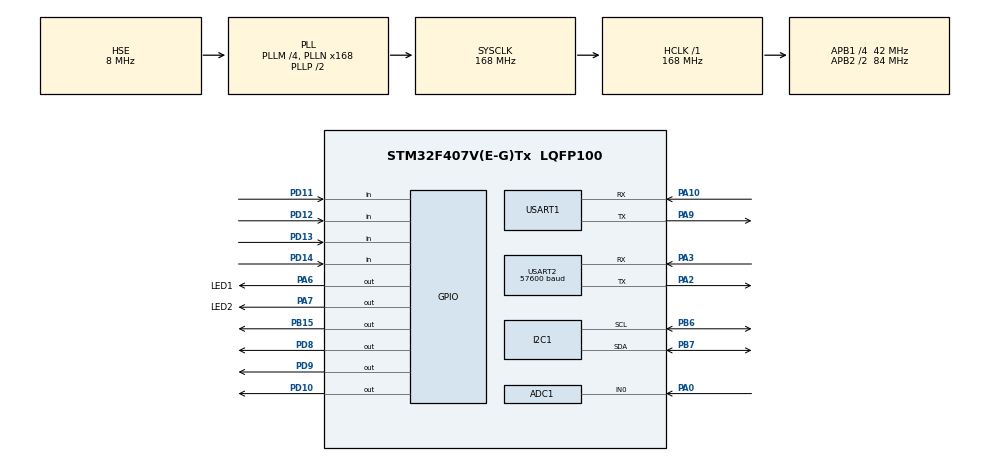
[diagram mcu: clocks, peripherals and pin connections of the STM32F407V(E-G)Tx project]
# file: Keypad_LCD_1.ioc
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ADC1.Channel-1\#ChannelRegularConversion=ADC_CHANNEL_0
ADC1.ContinuousConvMode=ENABLE
ADC1.NbrOfConversionFlag=1
ADC1.Rank-1\#ChannelRegularConversion=1
ADC1.SamplingTime-1\#ChannelRegularConversion=ADC_SAMPLETIME_15CYCLES
ADC1.master=1
FREERTOS.Tasks01=TaskEnter,0,128,TaskEnterFunction,Default,NULL,Dynamic,NULL,NULL;TaskESP,1,128,TaskESPFunction,Default,NULL,Dynamic,NULL,NULL
Mcu.Family=STM32F4
Mcu.Name=STM32F407V(E-G)Tx
Mcu.Package=LQFP100
NVIC.ADC_IRQn=true\:0\:0\:false\:false\:true\:false\:true\:true
NVIC.PriorityGroup=NVIC_PRIORITYGROUP_4
NVIC.TIM1_UP_TIM10_IRQn=true\:0\:0\:false\:false\:true\:false\:false\:true
NVIC.TimeBase=TIM1_UP_TIM10_IRQn
NVIC.TimeBaseIP=TIM1
NVIC.USART1_IRQn=true\:0\:0\:false\:false\:true\:false\:true\:true
NVIC.USART2_IRQn=true\:0\:0\:false\:false\:true\:false\:true\:true
PA0-WKUP.Signal=ADCx_IN0
PA10.Mode=Asynchronous
PA10.Signal=USART1_RX
PA13.Mode=Serial_Wire
PA13.Signal=SYS_JTMS-SWDIO
PA14.Mode=Serial_Wire
PA14.Signal=SYS_JTCK-SWCLK
PA2.Mode=Asynchronous
PA2.Signal=USART2_TX
PA3.Mode=Asynchronous
PA3.Signal=USART2_RX
PA6.GPIO_Label=LED1
PA6.GPIO_Speed=GPIO_SPEED_FREQ_VERY_HIGH
PA6.Signal=GPIO_Output
PA7.GPIO_Label=LED2
PA7.GPIO_Speed=GPIO_SPEED_FREQ_VERY_HIGH
PA7.PinState=GPIO_PIN_SET
PA7.Signal=GPIO_Output
PA9.Mode=Asynchronous
PA9.Signal=USART1_TX
PB15.GPIO_ModeDefaultOutputPP=GPIO_MODE_OUTPUT_PP
PB15.PinState=GPIO_PIN_SET
PB15.Signal=GPIO_Output
PB6.Mode=I2C
PB6.Signal=I2C1_SCL
PB7.Mode=I2C
PB7.Signal=I2C1_SDA
PD10.GPIO_ModeDefaultOutputPP=GPIO_MODE_OUTPUT_PP
PD10.PinState=GPIO_PIN_SET
PD10.Signal=GPIO_Output
PD11.GPIO_Mode=GPIO_MODE_INPUT
PD11.GPIO_PuPd=GPIO_PULLUP
PD11.Signal=GPIO_Input
PD12.GPIO_Mode=GPIO_MODE_INPUT
PD12.GPIO_PuPd=GPIO_PULLUP
PD12.Signal=GPIO_Input
PD13.GPIO_Mode=GPIO_MODE_INPUT
PD13.GPIO_PuPd=GPIO_PULLUP
PD13.Signal=GPIO_Input
PD14.GPIO_Mode=GPIO_MODE_INPUT
PD14.GPIO_PuPd=GPIO_PULLUP
PD14.Signal=GPIO_Input
PD8.GPIO_ModeDefaultOutputPP=GPIO_MODE_OUTPUT_PP
PD8.PinState=GPIO_PIN_SET
PD8.Signal=GPIO_Output
PD9.GPIO_ModeDefaultOutputPP=GPIO_MODE_OUTPUT_PP
PD9.PinState=GPIO_PIN_SET
PD9.Signal=GPIO_Output
PH0-OSC_IN.Mode=HSE-External-Oscillator
PH0-OSC_IN.Signal=RCC_OSC_IN
PH1-OSC_OUT.Mode=HSE-External-Oscillator
PH1-OSC_OUT.Signal=RCC_OSC_OUT
ProjectManager.HeapSize=0x200
ProjectManager.StackSize=0x400
ProjectManager.TargetToolchain=MDK-ARM V5
RCC.48MHZClocksFreq_Value=84000000
RCC.AHBFreq_Value=168000000
RCC.APB1CLKDivider=RCC_HCLK_DIV4
RCC.APB1Freq_Value=42000000
RCC.APB1TimFreq_Value=84000000
RCC.APB2CLKDivider=RCC_HCLK_DIV2
RCC.APB2Freq_Value=84000000
RCC.APB2TimFreq_Value=168000000
RCC.CortexFreq_Value=168000000
RCC.HCLKFreq_Value=168000000
RCC.HSE_VALUE=8000000
RCC.HSI_VALUE=16000000
RCC.LSE_VALUE=32768
RCC.PLLM=4
RCC.PLLN=168
RCC.PLLSourceVirtual=RCC_PLLSOURCE_HSE
RCC.SYSCLKFreq_VALUE=168000000
RCC.SYSCLKSource=RCC_SYSCLKSOURCE_PLLCLK
RCC.VCOOutputFreq_Value=336000000
SH.ADCx_IN0.0=ADC1_IN0,IN0
USART1.VirtualMode=VM_ASYNC
USART2.BaudRate=57600
USART2.VirtualMode=VM_ASYNC
VP_FREERTOS_VS_CMSIS_V1.Mode=CMSIS_V1
VP_SYS_VS_tim1.Mode=TIM1
board=custom

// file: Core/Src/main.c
/* USER CODE BEGIN Header */
/**
  ******************************************************************************
  * @file           : main.c
  * @brief          : Main program body
  ******************************************************************************
  * @attention
  *
  * <h2><center>&copy; Copyright (c) 2021 STMicroelectronics.
  * All rights reserved.</center></h2>
  *
  * This software component is licensed by ST under Ultimate Liberty license
  * SLA0044, the "License"; You may not use this file except in compliance with
  * the License. You may obtain a copy of the License at:
  *                             www.st.com/SLA0044
  *
  ******************************************************************************
  */
/* USER CODE END Header */
#include "main.h"
#include "cmsis_os.h"

/* USER CODE BEGIN Includes */
#include "finger.h"
#include "lib_keypad.h"
#include "lcd_20x4.h"
/* USER CODE END Includes */

ADC_HandleTypeDef hadc1;

I2C_HandleTypeDef hi2c1;

UART_HandleTypeDef huart1;
UART_HandleTypeDef huart2;

osThreadId TaskEnterHandle;
osThreadId TaskESPHandle;

void SystemClock_Config(void);
static void MX_GPIO_Init(void);
static void MX_ADC1_Init(void);
static void MX_I2C1_Init(void);
static void MX_USART1_UART_Init(void);
static void MX_USART2_UART_Init(void);
void TaskEnterFunction(void const * argument);
void TaskESPFunction(void const * argument);

/* USER CODE BEGIN 0 */
int p = -1;
uint8_t txBuf[32];
uint8_t rxBuf[32];
uint8_t rxData;
uint8_t rxIndex = 0;
//uint16_t RxLastTime = 0;
uint8_t PageID = 122;
uint8_t test = 0, key = 0;

void HAL_UART_RxCpltCallback(UART_HandleTypeDef *huart){
		//RxLastTime = HAL_GetTick();
		rxBuf[rxIndex] = rxData;
		if (rxIndex < (sizeof(rxBuf)-2))
			rxIndex++;
		HAL_UART_Receive_IT(&huart2, &rxData, 1);
}
/* USER CODE END 0 */

int main(void)
{

  /* MCU Configuration--------------------------------------------------------*/

  /* Reset of all peripherals, Initializes the Flash interface and the Systick. */
  HAL_Init();

  /* Configure the system clock */
  SystemClock_Config();

  /* Initialize all configured peripherals */
  MX_GPIO_Init();
  MX_ADC1_Init();
  MX_I2C1_Init();
  MX_USART1_UART_Init();
  MX_USART2_UART_Init();
  /* USER CODE BEGIN 2 */
	LCD_20x4_i2cDeviceCheck();
	LCD_20x4_Init();
	LCD_20x4_BackLight(LCD_BL_ON);
	LCD_20x4_SetCursor(1,1);
	LCD_20x4_Send_String("A: Quet van tay",STR_NOSLIDE);
	LCD_20x4_SetCursor(2,1);
	LCD_20x4_Send_String("B: Nhap mat khau",STR_NOSLIDE);

	HAL_UART_Receive_IT(&huart2, &rxData, 1);
	HAL_Delay(500);

  /* USER CODE END 2 */

  /* Create the thread(s) */
  /* definition and creation of TaskEnter */
  osThreadDef(TaskEnter, TaskEnterFunction, osPriorityNormal, 0, 128);
  TaskEnterHandle = osThreadCreate(osThread(TaskEnter), NULL);

  /* definition and creation of TaskESP */
  osThreadDef(TaskESP, TaskESPFunction, osPriorityAboveNormal, 0, 128);
  TaskESPHandle = osThreadCreate(osThread(TaskESP), NULL);

  /* Start scheduler */
  osKernelStart();

  /* We should never get here as control is now taken by the scheduler */
  /* Infinite loop */
  while (1)
  {

  }
}

void SystemClock_Config(void)
{
  RCC_OscInitTypeDef RCC_OscInitStruct = {0};
  RCC_ClkInitTypeDef RCC_ClkInitStruct = {0};

  /** Configure the main internal regulator output voltage
  */
  __HAL_RCC_PWR_CLK_ENABLE();
  __HAL_PWR_VOLTAGESCALING_CONFIG(PWR_REGULATOR_VOLTAGE_SCALE1);
  /** Initializes the RCC Oscillators according to the specified parameters
  * in the RCC_OscInitTypeDef structure.
  */
  RCC_OscInitStruct.OscillatorType = RCC_OSCILLATORTYPE_HSE;
  RCC_OscInitStruct.HSEState = RCC_HSE_ON;
  RCC_OscInitStruct.PLL.PLLState = RCC_PLL_ON;
  RCC_OscInitStruct.PLL.PLLSource = RCC_PLLSOURCE_HSE;
  RCC_OscInitStruct.PLL.PLLM = 4;
  RCC_OscInitStruct.PLL.PLLN = 168;
  RCC_OscInitStruct.PLL.PLLP = RCC_PLLP_DIV2;
  RCC_OscInitStruct.PLL.PLLQ = 4;
  if (HAL_RCC_OscConfig(&RCC_OscInitStruct) != HAL_OK)
  {
    Error_Handler();
  }
  /** Initializes the CPU, AHB and APB buses clocks
  */
  RCC_ClkInitStruct.ClockType = RCC_CLOCKTYPE_HCLK|RCC_CLOCKTYPE_SYSCLK
                              |RCC_CLOCKTYPE_PCLK1|RCC_CLOCKTYPE_PCLK2;
  RCC_ClkInitStruct.SYSCLKSource = RCC_SYSCLKSOURCE_PLLCLK;
  RCC_ClkInitStruct.AHBCLKDivider = RCC_SYSCLK_DIV1;
  RCC_ClkInitStruct.APB1CLKDivider = RCC_HCLK_DIV4;
  RCC_ClkInitStruct.APB2CLKDivider = RCC_HCLK_DIV2;

  if (HAL_RCC_ClockConfig(&RCC_ClkInitStruct, FLASH_LATENCY_5) != HAL_OK)
  {
    Error_Handler();
  }
}

static void MX_ADC1_Init(void)
{

  ADC_ChannelConfTypeDef sConfig = {0};

  /** Configure the global features of the ADC (Clock, Resolution, Data Alignment and number of conversion)
  */
  hadc1.Instance = ADC1;
  hadc1.Init.ClockPrescaler = ADC_CLOCK_SYNC_PCLK_DIV4;
  hadc1.Init.Resolution = ADC_RESOLUTION_12B;
  hadc1.Init.ScanConvMode = DISABLE;
  hadc1.Init.ContinuousConvMode = ENABLE;
  hadc1.Init.DiscontinuousConvMode = DISABLE;
  hadc1.Init.ExternalTrigConvEdge = ADC_EXTERNALTRIGCONVEDGE_NONE;
  hadc1.Init.ExternalTrigConv = ADC_SOFTWARE_START;
  hadc1.Init.DataAlign = ADC_DATAALIGN_RIGHT;
  hadc1.Init.NbrOfConversion = 1;
  hadc1.Init.DMAContinuousRequests = DISABLE;
  hadc1.Init.EOCSelection = ADC_EOC_SINGLE_CONV;
  if (HAL_ADC_Init(&hadc1) != HAL_OK)
  {
    Error_Handler();
  }
  /** Configure for the selected ADC regular channel its corresponding rank in the sequencer and its sample time.
  */
  sConfig.Channel = ADC_CHANNEL_0;
  sConfig.Rank = 1;
  sConfig.SamplingTime = ADC_SAMPLETIME_15CYCLES;
  if (HAL_ADC_ConfigChannel(&hadc1, &sConfig) != HAL_OK)
  {
    Error_Handler();
  }

}

static void MX_I2C1_Init(void)
{

  hi2c1.Instance = I2C1;
  hi2c1.Init.ClockSpeed = 100000;
  hi2c1.Init.DutyCycle = I2C_DUTYCYCLE_2;
  hi2c1.Init.OwnAddress1 = 0;
  hi2c1.Init.AddressingMode = I2C_ADDRESSINGMODE_7BIT;
  hi2c1.Init.DualAddressMode = I2C_DUALADDRESS_DISABLE;
  hi2c1.Init.OwnAddress2 = 0;
  hi2c1.Init.GeneralCallMode = I2C_GENERALCALL_DISABLE;
  hi2c1.Init.NoStretchMode = I2C_NOSTRETCH_DISABLE;
  if (HAL_I2C_Init(&hi2c1) != HAL_OK)
  {
    Error_Handler();
  }

}

static void MX_USART1_UART_Init(void)
{

  huart1.Instance = USART1;
  huart1.Init.BaudRate = 115200;
  huart1.Init.WordLength = UART_WORDLENGTH_8B;
  huart1.Init.StopBits = UART_STOPBITS_1;
  huart1.Init.Parity = UART_PARITY_NONE;
  huart1.Init.Mode = UART_MODE_TX_RX;
  huart1.Init.HwFlowCtl = UART_HWCONTROL_NONE;
  huart1.Init.OverSampling = UART_OVERSAMPLING_16;
  if (HAL_UART_Init(&huart1) != HAL_OK)
  {
    Error_Handler();
  }

}

static void MX_USART2_UART_Init(void)
{

  huart2.Instance = USART2;
  huart2.Init.BaudRate = 57600;
  huart2.Init.WordLength = UART_WORDLENGTH_8B;
  huart2.Init.StopBits = UART_STOPBITS_1;
  huart2.Init.Parity = UART_PARITY_NONE;
  huart2.Init.Mode = UART_MODE_TX_RX;
  huart2.Init.HwFlowCtl = UART_HWCONTROL_NONE;
  huart2.Init.OverSampling = UART_OVERSAMPLING_16;
  if (HAL_UART_Init(&huart2) != HAL_OK)
  {
    Error_Handler();
  }

}

static void MX_GPIO_Init(void)
{
  GPIO_InitTypeDef GPIO_InitStruct = {0};

  /* GPIO Ports Clock Enable */
  __HAL_RCC_GPIOH_CLK_ENABLE();
  __HAL_RCC_GPIOA_CLK_ENABLE();
  __HAL_RCC_GPIOB_CLK_ENABLE();
  __HAL_RCC_GPIOD_CLK_ENABLE();

  /*Configure GPIO pin Output Level */
  HAL_GPIO_WritePin(LED1_GPIO_Port, LED1_Pin, GPIO_PIN_RESET);

  /*Configure GPIO pin Output Level */
  HAL_GPIO_WritePin(LED2_GPIO_Port, LED2_Pin, GPIO_PIN_SET);

  /*Configure GPIO pin Output Level */
  HAL_GPIO_WritePin(GPIOB, GPIO_PIN_15, GPIO_PIN_SET);

  /*Configure GPIO pin Output Level */
  HAL_GPIO_WritePin(GPIOD, GPIO_PIN_8|GPIO_PIN_9|GPIO_PIN_10, GPIO_PIN_SET);

  /*Configure GPIO pins : LED1_Pin LED2_Pin */
  GPIO_InitStruct.Pin = LED1_Pin|LED2_Pin;
  GPIO_InitStruct.Mode = GPIO_MODE_OUTPUT_PP;
  GPIO_InitStruct.Pull = GPIO_NOPULL;
  GPIO_InitStruct.Speed = GPIO_SPEED_FREQ_VERY_HIGH;
  HAL_GPIO_Init(GPIOA, &GPIO_InitStruct);

  /*Configure GPIO pin : PB15 */
  GPIO_InitStruct.Pin = GPIO_PIN_15;
  GPIO_InitStruct.Mode = GPIO_MODE_OUTPUT_PP;
  GPIO_InitStruct.Pull = GPIO_NOPULL;
  GPIO_InitStruct.Speed = GPIO_SPEED_FREQ_LOW;
  HAL_GPIO_Init(GPIOB, &GPIO_InitStruct);

  /*Configure GPIO pins : PD8 PD9 PD10 */
  GPIO_InitStruct.Pin = GPIO_PIN_8|GPIO_PIN_9|GPIO_PIN_10;
  GPIO_InitStruct.Mode = GPIO_MODE_OUTPUT_PP;
  GPIO_InitStruct.Pull = GPIO_NOPULL;
  GPIO_InitStruct.Speed = GPIO_SPEED_FREQ_LOW;
  HAL_GPIO_Init(GPIOD, &GPIO_InitStruct);

  /*Configure GPIO pins : PD11 PD12 PD13 PD14 */
  GPIO_InitStruct.Pin = GPIO_PIN_11|GPIO_PIN_12|GPIO_PIN_13|GPIO_PIN_14;
  GPIO_InitStruct.Mode = GPIO_MODE_INPUT;
  GPIO_InitStruct.Pull = GPIO_PULLUP;
  HAL_GPIO_Init(GPIOD, &GPIO_InitStruct);

}

void TaskEnterFunction(void const * argument)
{
  /* USER CODE BEGIN 5 */
  /* Infinite loop */
  for(;;)
  {
		Enter();
    osDelay(1);
  }
  /* USER CODE END 5 */
}

void TaskESPFunction(void const * argument)
{
  /* USER CODE BEGIN TaskESPFunction */
  /* Infinite loop */
  for(;;)
  {
		HAL_GPIO_TogglePin(LED1_GPIO_Port,LED1_Pin);
    osDelay(500);
  }
  /* USER CODE END TaskESPFunction */
}

void HAL_TIM_PeriodElapsedCallback(TIM_HandleTypeDef *htim)
{
  if (htim->Instance == TIM1) {
    HAL_IncTick();
  }
}

void Error_Handler(void)
{
}

/************************ (C) COPYRIGHT STMicroelectronics *****END OF FILE****/
